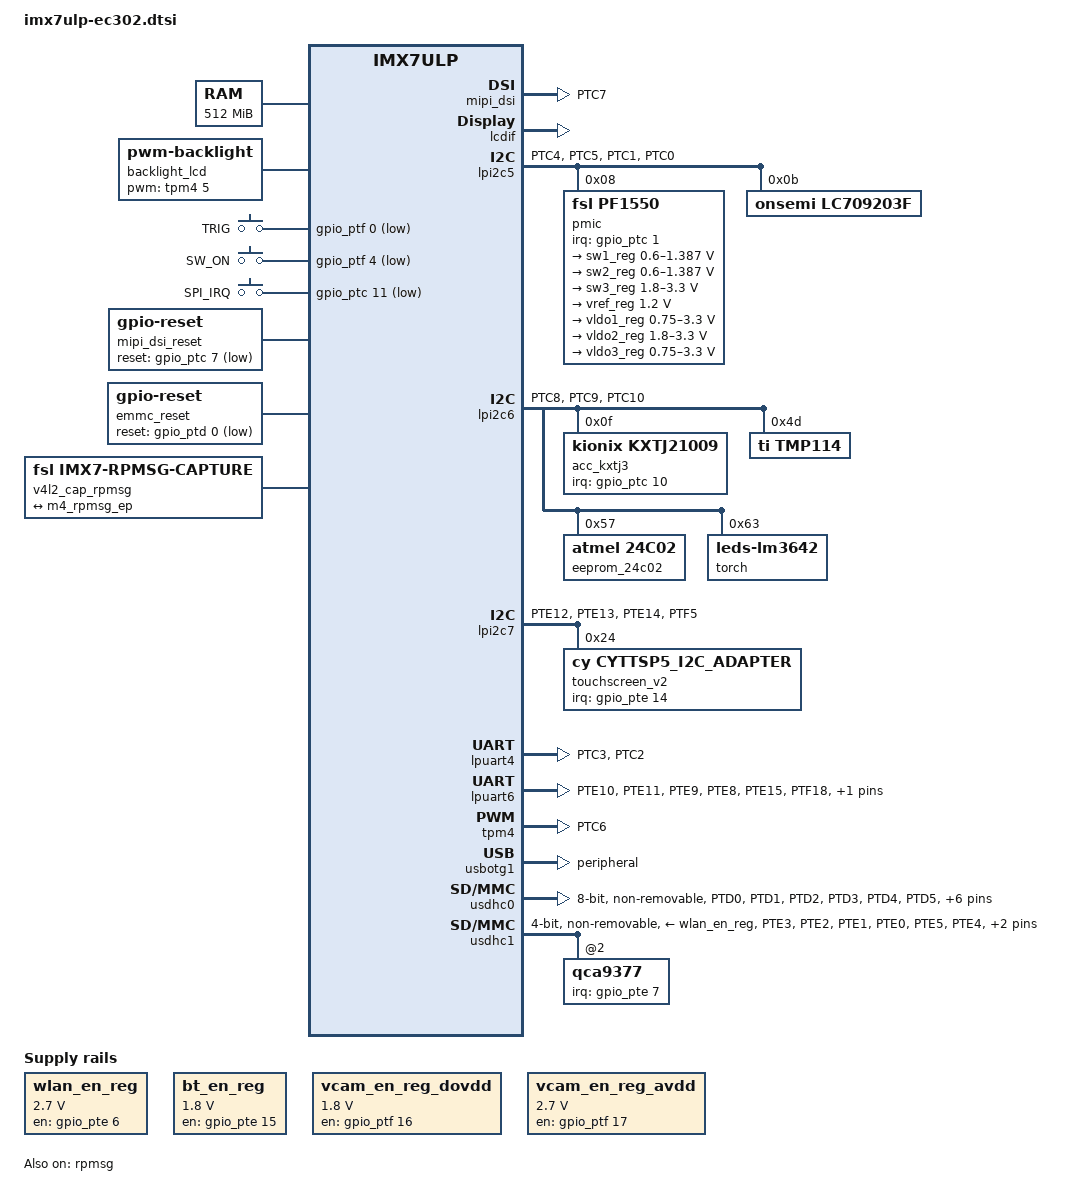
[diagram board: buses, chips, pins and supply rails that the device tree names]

// /*
//  * Copyright 2019 FLIR
//  *
//  * This program is free software; you can redistribute it and/or modify
//  * it under the terms of the GNU General Public License version 2 as
//  * published by the Free Software Foundation.
//  */

#include <dt-bindings/leds/common.h>

/ {

	aliases {
		lcdif = &lcdif;
	};

	chosen {
		stdout-path = &lpuart4;
	};

	memory@60000000 {
		device_type = "memory";
		reg = <0x60000000 0x20000000>;
	};

	reserved-memory {
		rpmsg_reserved: rpmsg@9FFF0000 {
			no-map;
			reg = <0x7FF80000 0x80000>;
		};
	};

	backlight_lcd {
		compatible = "pwm-backlight";
		pwms = <&tpm4 5 1000000 0>;
		brightness-levels = <0 10 20 30 40 50 60 70 80 90 100>;
		default-brightness-level = <7>;
		status = "okay";
	};

	regulators {
		compatible = "simple-bus";
		#address-cells = <1>;
		#size-cells = <0>;

		wlan_en_reg: wlan_en_reg {
			compatible = "regulator-fixed";
			regulator-name = "wl";
			regulator-min-microvolt = <2700000>;
			regulator-max-microvolt = <2700000>;
			gpio = <&gpio_pte 6 GPIO_ACTIVE_HIGH>;
			startup-delay-us = <70000>;
			enable-active-high;
		};

		bt_en_reg: bt_en_reg {
			compatible = "regulator-fixed";
			regulator-name = "bt_en";
			regulator-min-microvolt = <1800000>;
			regulator-max-microvolt = <1800000>;
			gpio = <&gpio_pte 15 GPIO_ACTIVE_HIGH>;
			startup-delay-us = <70000>;
			enable-active-high;
			regulator-boot-on;
			regulator-always-on;
		};

		vcam_en_reg_dovdd: vcam_en_reg_dovdd {
			compatible = "regulator-fixed";
			regulator-name = "vcam_en_reg_dovdd";
			regulator-min-microvolt = <1800000>;
			regulator-max-microvolt = <1800000>;
			gpio = <&gpio_ptf 16 GPIO_ACTIVE_HIGH>;
			startup-delay-us = <0>;
			enable-active-high;
		};

		vcam_en_reg_avdd: vcam_en_reg_avdd {
			compatible = "regulator-fixed";
			regulator-name = "vcam_en_reg_avdd";
			regulator-min-microvolt = <2700000>;
			regulator-max-microvolt = <2700000>;
			gpio = <&gpio_ptf 17 GPIO_ACTIVE_HIGH>;
			startup-delay-us = <0>;
			enable-active-high;
		};

	};

	gpio_keys {
		compatible = "gpio-keys";
		pinctrl-names = "default";
		pinctrl-0 = <&pinctrl_gpiokeys>;
		#address-cells = <1>;
		#size-cells = <0>;

		TRIG {
			label = "TRIG";
			linux,input-type = <1>; /* EV_KEY */
			linux,code = <KEY_F6>;
			gpios = <&gpio_ptf 0 GPIO_ACTIVE_LOW>;
			debounce-interval = <5>;
		};

		SW_ON {
			label = "SW_ON";
			linux,input-type = <1>; /* EV_KEY */
			linux,code = <KEY_F8>;
			gpios = <&gpio_ptf 4 GPIO_ACTIVE_LOW>;
			debounce-interval = <5>;
		};

		SPI_IRQ {
			label = "SPI_IRQ";
			linux,input-type = <1>; /* EV_KEY */
			linux,code = <KEY_F7>;
			gpios = <&gpio_ptc 11 GPIO_ACTIVE_LOW>;
			debounce-interval = <5>;
		};
	};

	mipi_dsi_reset: mipi-dsi-reset {
		compatible = "gpio-reset";
		reset-gpios = <&gpio_ptc 7 GPIO_ACTIVE_LOW>;
		reset-delay-us = <5000>;
		#reset-cells = <0>;
	};

	emmc_reset: emmc_reset {
		compatible = "gpio-reset";
		reset-gpios = <&gpio_ptd 0 GPIO_ACTIVE_LOW>;
		reset-delay-us = <1000>;
		#reset-cells = <0>;
	};

	v4l2_cap_rpmsg {
		compatible = "fsl,imx7-rpmsg-capture";
		status = "okay";
		port {
			v4l2_cap_rpmsg_ep: endpoint {
				remote-endpoint = <&m4_rpmsg_ep>;
			};
		};
	};

	m4_rpmsg: m4_rpmsg {
		port {
			m4_rpmsg_ep: endpoint {
				remote-endpoint = <&v4l2_cap_rpmsg_ep>;
			};
		};
	};

	// Change memory access priorites (QoS) for AXI switches
	// Refer to chapter 13.2.1 (NIC-301 block diagram) and
	// chapter 13.4.2.3 (ASIB default values) of iMX7ULP reference manual

	nic0: nic0@41c00000 {
		compatible = "arm,nic-301";
		reg = <0x41c00000 0x100000>;
		m3_prio = <4>;		// Reduce 3D GPU prio from 5 to 4
		m4_prio = <4>;		// Reduce 2D GPU prio from 5 to 4
	};

	nic1: nic1@41d00000 {
		compatible = "arm,nic-301";
		reg = <0x41d00000 0x100000>;
		m2_prio = <5>;		// Raise Cortex-M4 prio from 1 to 5
		m5_prio = <5>;		// Raise VIU prio from 4 to 5
	};

	snvs: snvs@41070000 {
		compatible = "fsl,sec-v4.0-mon", "syscon", "simple-mfd";
		reg = <0x41070000 0x10000>;
		snvs_rtc: snvs-rtc-lp {
			compatible = "fsl,sec-v4.0-mon-rtc-lp";
			regmap = <&snvs>;
			offset = <0x34>;
			interrupts = <GIC_SPI 88 IRQ_TYPE_LEVEL_HIGH>;
		};
	};

	rtc_rpmsg: rtc-rpmsg {
		compatible = "fsl,imx-rpmsg-rtc";
	};
};

&cpu0 {
	arm-supply= <&sw1_reg>;
};

/* LCD */
&mipi_dsi {
	pinctrl-names = "default";
	pinctrl-0 = <&pinctrl_mipi_dsi_reset>;
	lcd_panel = "TRULY-VGA-SHERLOCK";
	status = "okay";
	resets = <&mipi_dsi_reset>;
};

&lcdif {
	status = "okay";
	disp-dev = "mipi_dsi_northwest";
	display = <&display0>;
	bootlogo = <0x0 0x0>;

	display0: display@0 {
		bits-per-pixel = <32>;
		bus-width = <24>;
	};
};

&iomuxc1 {
	pinctrl-names = "default";

	pinctrl_pwm0: pwm0grp {
		fsl,pins = <
			IMX7ULP_PAD_PTC6__TPM4_CH5  0x0
			>;
	};

	pinctrl_gpiokeys: gpiokeysgrp {
		fsl,pins = <
			IMX7ULP_PAD_PTC12__PTC12  0x10003
			IMX7ULP_PAD_PTC13__PTC13  0x10003
			>;
		};

	pinctrl_lpi2c5: lpi2c5grp {
		fsl,pins = <
			IMX7ULP_PAD_PTC4__LPI2C5_SCL    0x27
			IMX7ULP_PAD_PTC5__LPI2C5_SDA    0x27
			IMX7ULP_PAD_PTC1__PTC1          0x3  /* PMIC_INT */
			IMX7ULP_PAD_PTC0__PTC0          0x27 /* PMIC_WD */
			>;
	};

	pinctrl_lpi2c5_sleep: lpi2c5grp_sleep {
		fsl,pins = <
			IMX7ULP_PAD_PTC4__PTC4          0x0
			IMX7ULP_PAD_PTC5__PTC5          0x0
			IMX7ULP_PAD_PTC1__PTC1          0x3  /* PMIC_INT */
			IMX7ULP_PAD_PTC0__PTC0          0x27 /* PMIC_WD */
			>;
	};

	pinctrl_lpi2c6: lpi2c6grp {
		fsl,pins = <
			IMX7ULP_PAD_PTC8__LPI2C6_SCL    0x27
			IMX7ULP_PAD_PTC9__LPI2C6_SDA    0x27
			IMX7ULP_PAD_PTC10__PTC10        0x2 /* ACC_INT_n */
			>;
	};

	pinctrl_lpi2c6_sleep: lpi2c6grp_sleep {
		fsl,pins = <
			IMX7ULP_PAD_PTC8__PTC8          0x0
			IMX7ULP_PAD_PTC9__PTC9          0x0
			IMX7ULP_PAD_PTC10__PTC10        0x0 /* ACC_INT_n */
			>;
	};

	pinctrl_lpi2c7: lpi2c7grp {
		fsl,pins = <
			IMX7ULP_PAD_PTE12__LPI2C7_SCL   0x27
			IMX7ULP_PAD_PTE13__LPI2C7_SDA   0x27
			IMX7ULP_PAD_PTE14__PTE14        0x3 /* PCAPINT_n */
			IMX7ULP_PAD_PTF5__PTF5          0x20043 /* TP_RESET_n */
			>;
	};

	pinctrl_lpi2c7_sleep: lpi2c7grp_sleep {
		fsl,pins = <
			IMX7ULP_PAD_PTE12__PTE12        0x0
			IMX7ULP_PAD_PTE13__PTE13        0x0
			IMX7ULP_PAD_PTE14__PTE14        0x0 /* PCAPINT_n */
			IMX7ULP_PAD_PTF5__PTF5          0x3 /* TP_RESET_n */
			>;
	};

	pinctrl_lpuart4: lpuart4grp {
		fsl,pins = <
			IMX7ULP_PAD_PTC3__LPUART4_RX    0x3
			IMX7ULP_PAD_PTC2__LPUART4_TX    0x3
			>;
		bias-pull-up;
	};

	pinctrl_lpuart4_sleep: lpuart4grp_sleep {
		fsl,pins = <
			IMX7ULP_PAD_PTC3__PTC3    0x0
			IMX7ULP_PAD_PTC2__PTC2    0x0
			>;
	};

	pinctrl_lpuart6: lpuart6grp {
		fsl,pins = <
			IMX7ULP_PAD_PTE10__LPUART6_TX   0x3
			IMX7ULP_PAD_PTE11__LPUART6_RX   0x3
			IMX7ULP_PAD_PTE9__LPUART6_RTS_B 0x3
			IMX7ULP_PAD_PTE8__LPUART6_CTS_B 0x3
			IMX7ULP_PAD_PTE15__PTE15	0x3     /* BT_EN */
			IMX7ULP_PAD_PTF18__PTF18	0x3     /* BT_WAKE_HOST */
			IMX7ULP_PAD_PTF19__PTF19	0x3     /* HOST_WAKE_BT */
			>;
	};

	pinctrl_lpuart6_sleep: lpuart6grp_sleep {
		fsl,pins = <
			IMX7ULP_PAD_PTE10__PTE10        0x0
			IMX7ULP_PAD_PTE11__PTE11        0x0
			IMX7ULP_PAD_PTE9__PTE9          0x0
			IMX7ULP_PAD_PTE8__PTE8          0x0
			IMX7ULP_PAD_PTE15__PTE15	0x0     /* BT_EN */
			IMX7ULP_PAD_PTF18__PTF18	0x0     /* BT_WAKE_HOST */
			IMX7ULP_PAD_PTF19__PTF19	0x0     /* HOST_WAKE_BT */
			>;
	};

	pinctrl_usdhc0: usdhc0grp {
		fsl,pins = <
			IMX7ULP_PAD_PTD0__PTD0      0x20000     /* USDHC0 RST */
			IMX7ULP_PAD_PTD1__SDHC0_CMD 0x43
			IMX7ULP_PAD_PTD2__SDHC0_CLK 0x10042
			IMX7ULP_PAD_PTD3__SDHC0_D7  0x43
			IMX7ULP_PAD_PTD4__SDHC0_D6  0x43
			IMX7ULP_PAD_PTD5__SDHC0_D5  0x43
			IMX7ULP_PAD_PTD6__SDHC0_D4  0x43
			IMX7ULP_PAD_PTD7__SDHC0_D3  0x43
			IMX7ULP_PAD_PTD8__SDHC0_D2  0x43
			IMX7ULP_PAD_PTD9__SDHC0_D1  0x43
			IMX7ULP_PAD_PTD10__SDHC0_D0 0x43
			IMX7ULP_PAD_PTD11__SDHC0_DQS    0x42
			>;
	};

	pinctrl_usdhc1: usdhc1grp {
		fsl,pins = <
			IMX7ULP_PAD_PTE3__SDHC1_CMD     0x43
			IMX7ULP_PAD_PTE2__SDHC1_CLK     0x10042
			IMX7ULP_PAD_PTE1__SDHC1_D0      0x43
			IMX7ULP_PAD_PTE0__SDHC1_D1      0x43
			IMX7ULP_PAD_PTE5__SDHC1_D2      0x43
			IMX7ULP_PAD_PTE4__SDHC1_D3      0x43
			IMX7ULP_PAD_PTE6__PTE6		0x3     /* WLAN_EN */
			IMX7ULP_PAD_PTE7__PTE7		0x2     /* WLAN_IRQ */
			>;
	};

	pinctrl_usdhc1_sleep: usdhc1grp_sleep {
		fsl,pins = <
			IMX7ULP_PAD_PTE3__PTE3          0x0
			IMX7ULP_PAD_PTE2__PTE2          0x0
			IMX7ULP_PAD_PTE1__PTE1          0x0
			IMX7ULP_PAD_PTE0__PTE0          0x0
			IMX7ULP_PAD_PTE5__PTE5          0x0
			IMX7ULP_PAD_PTE4__PTE4          0x0
			IMX7ULP_PAD_PTE6__PTE6		0x0     /* WLAN_EN */
			IMX7ULP_PAD_PTE7__PTE7		0x0     /* WLAN_IRQ */
			>;
	};

	pinctrl_mipi_dsi_reset: mipi_dsi_reset_grp {
		fsl,pins = <
			IMX7ULP_PAD_PTC7__PTC7    0x3 /* DISPLAY_RESET */
			>;
	};

	pinctrl_camera: camera_grp {
		fsl,pins = <
			IMX7ULP_PAD_PTF3__VIU_PCLK  0x10043
			IMX7ULP_PAD_PTF6__VIU_D2    0x43
			IMX7ULP_PAD_PTF7__VIU_D3    0x43
			IMX7ULP_PAD_PTF8__VIU_D4    0x43
			IMX7ULP_PAD_PTF9__VIU_D5    0x43
			IMX7ULP_PAD_PTF10__VIU_D6   0x43
			IMX7ULP_PAD_PTF11__VIU_D7   0x43
			IMX7ULP_PAD_PTF12__VIU_D8   0x43
			IMX7ULP_PAD_PTF13__VIU_D9   0x43
			IMX7ULP_PAD_PTF14__PTF14    0x20043  /* CAMERA RESET */
			IMX7ULP_PAD_PTF15__PTF15    0x20043  /* CAMERA PWDN */
			IMX7ULP_PAD_PTF16__PTF16    0x20043  /* CAMERA 1V8 ENABLE*/
			IMX7ULP_PAD_PTF17__PTF17    0x20043  /* CAMERA 2V8 ENABLE */
			>;
	};

	pinctrl_camera_sleep: camera_grp_sleep {
		fsl,pins = <
			IMX7ULP_PAD_PTF3__PTF3      0x0
			IMX7ULP_PAD_PTF6__PTF6      0x0
			IMX7ULP_PAD_PTF7__PTF7      0x0
			IMX7ULP_PAD_PTF8__PTF8      0x0
			IMX7ULP_PAD_PTF9__PTF9      0x0
			IMX7ULP_PAD_PTF10__PTF10    0x0
			IMX7ULP_PAD_PTF11__PTF11    0x0
			IMX7ULP_PAD_PTF12__PTF12    0x0
			IMX7ULP_PAD_PTF13__PTF13    0x0
			IMX7ULP_PAD_PTF14__PTF14    0x20043  /* CAMERA RESET */
			IMX7ULP_PAD_PTF15__PTF15    0x20043  /* CAMERA PWDN */
			IMX7ULP_PAD_PTF16__PTF16    0x20043  /* CAMERA 1V8 ENABLE*/
			IMX7ULP_PAD_PTF17__PTF17    0x20043  /* CAMERA 2V8 ENABLE */
			>;
	};
};

/*  PMIC */
&lpi2c5 {
	#address-cells = <1>;
	#size-cells = <0>;
	pinctrl-names = "default", "sleep";
	pinctrl-0 = <&pinctrl_lpi2c5>;
	pinctrl-1 = <&pinctrl_lpi2c5_sleep>;
	status = "okay";

	pmic: pf1550@08 {
		compatible = "fsl,pf1550";
		interrupt-parent = <&gpio_ptc>;
		interrupts = <1 IRQ_TYPE_EDGE_FALLING>;
		reg = <0x08>;

		onkey {
			compatible = "fsl,pf1550-onkey";
			linux,keycode = <KEY_F8>;
		};

		charger {
			compatible = "fsl,pf1550-charger";
			fsl,min-system-microvolt = <4300000>;
		};

		regulators {
			compatible = "fsl,pf1550-regulator";

			sw1_reg: SW1 {
				regulator-name = "SW1";
				regulator-min-microvolt = <600000>;
				regulator-max-microvolt = <1387500>;
				regulator-boot-on;
				regulator-always-on;
				regulator-ramp-delay = <6250>;
			};

			sw2_reg: SW2 {
				regulator-name = "SW2";
				regulator-min-microvolt = <600000>;
				regulator-max-microvolt = <1387500>;
				regulator-boot-on;
				regulator-always-on;
			};

			sw3_reg: SW3 {
				regulator-name = "SW3";
				regulator-min-microvolt = <1800000>;
				regulator-max-microvolt = <3300000>;
				regulator-boot-on;
				regulator-always-on;
			};

			vref_reg: VREFDDR {
				regulator-name = "VREFDDR";
				regulator-min-microvolt = <1200000>;
				regulator-max-microvolt = <1200000>;
				regulator-boot-on;
				regulator-always-on;
			};

			vldo1_reg: LDO1 {
				regulator-name = "LDO1";
				regulator-min-microvolt = <750000>;
				regulator-max-microvolt = <3300000>;
				regulator-always-on;
			};

			vldo2_reg: LDO2 {
				regulator-name = "LDO2";
				regulator-min-microvolt = <1800000>;
				regulator-max-microvolt = <3300000>;
				regulator-always-on;
			};

			vldo3_reg: LDO3 {
				regulator-name = "LDO3";
				regulator-min-microvolt = <750000>;
				regulator-max-microvolt = <3300000>;
				regulator-always-on;
			};
		};
	};

	/*Fuel gauge */
	lc709203f: lc709203f@0b {
		compatible = "onsemi,lc709203f";
		reg = <0x0b>;
		thermistor-beta = <0x0d34>;
		kernel-threshold-soc = <0>;
		kernel-maximum-soc = <100>;
		alert-low-rsoc = <0x0>;
		alert-low-voltage = <0x0>;
	};
};

/*  IO expander for VCAM, Lepton, Accelerometer, Temp sensor 1 and 2, EEPROM */
&lpi2c6 {
	#address-cells = <1>;
	#size-cells = <0>;
	pinctrl-names = "default", "sleep";
	pinctrl-0 = <&pinctrl_lpi2c6>;
	pinctrl-1 = <&pinctrl_lpi2c6_sleep>;
	status = "okay";

//	ov5640: ov5640@3c {
//		compatible = "ovti,ov5640";
//		reg = <0x3c>;
//		clocks = <&clks IMX7ULP_CLK_DUMMY>;
//		clock-names = "csi_mclk";
//		DOVDD-supply = <&vcam_en_reg_dovdd>; /* 1.8v */
//		AVDD-supply = <&vcam_en_reg_avdd>;  /* 2.8v */
//		pwn-gpios = <&gpio_ptf 15 GPIO_ACTIVE_HIGH>;
//		rst-gpios = <&gpio_ptf 14 GPIO_ACTIVE_HIGH>;
//		clk-gpios = <&gpio_ptc 0 GPIO_ACTIVE_HIGH>;
//		csi_id = <0>;
//		mclk = <24000000>;
//		mclk_source = <0>;
//		status = "okay";
//		port {
//			ov5640_ep: endpoint {
//				remote-endpoint = <&viu_ep>;
//			};
//		};
//	};

	acc_kxtj3: acc_kxtj3@0F {
		compatible = "kionix,kxtj21009";
		reg = <0x0F>;
		interrupt-parent = <&gpio_ptc>;
		interrupts = <10 IRQ_TYPE_LEVEL_HIGH>;
	};

	tmp114: tmp114@4d {
		compatible = "ti,tmp114";
		reg = <0x4d>;
	};

	eeprom_24c02: eeprom_24c02@57 {
		compatible = "atmel,24c02";
		reg = <0x57>;
		pagesize = <16>;
	};

	torch: torch@63 {
		compatible = "leds-lm3642";
		reg = <0x63>;
		flash-ramp = <3>;       /* 011b = 2 ms */
		flash-time-out = <7>;   /* 111b = 800 ms */
		torch-max-current = <3>;/* 011b = 375 mA */
		flash-max-current = <7>;/* 0111b = 750 mA */
		ivfm = <3>;		/* 011b = 3.2 V */
		torch-ramp = <5>;	/* 101b = 512 ms */
	};
};

/* Touchscreen */
&lpi2c7 {
	#address-cells = <1>;
	#size-cells = <0>;
	pinctrl-names = "default",  "sleep";
	pinctrl-0 = <&pinctrl_lpi2c7>;
	pinctrl-1 = <&pinctrl_lpi2c7_sleep>;
	status = "okay";

	touchscreen_v2:tsc@24{
		compatible = "cy,cyttsp5_i2c_adapter";
		reg = <0x24>;

		interrupts = <14 IRQ_TYPE_EDGE_FALLING>;
		interrupt-parent = <&gpio_pte>;
		cy,adapter_id = "cyttsp5_i2c_adapter";

		cy,core {
			cy,name = "cyttsp5_core";
			cy,irq_gpio = <78>;//<&gpio_pte 14 GPIO_ACTIVE_HIGH>;
			cy,rst_gpio = <101>;//<&gpio_ptf 5 GPIO_ACTIVE_LOW>;
			cy,hid_desc_register = <1>;

			/*CY_CORE_FLAG_RESTORE_PARAMETERS */
			cy,flags = <4>;
			/* CY_CORE_EWG_NONE */
			cy,easy_wakeup_gesture = <0>;

			cy,mt {
				cy,name = "cyttsp5_mt";
				cy,inp_dev_name = "cyttsp5_mt";
				/* CY_MT_FLAG_FLIP | CY_MT_FLAG_INV_X | CY_MT_FLAG_INV_Y */
				cy,flags = <0x00>;
				cy,abs =
					/* ABS_MT_POSITION_X, CY_ABS_MIN_X, CY_ABS_MAX_X, 0, 0 */
					<0x35 0 480 0 0
					/* ABS_MT_POSITION_Y, CY_ABS_MIN_Y, CY_ABS_MAX_Y, 0, 0 */
					0x36 0 640 0 0
					/* ABS_MT_PRESSURE, CY_ABS_MIN_P, CY_ABS_MAX_P, 0, 0 */
					0x3a 0 255 0 0
					/* CY_IGNORE_VALUE, CY_ABS_MIN_W, CY_ABS_MAX_W, 0, 0 */
					0xffff 0 255 0 0
					/* ABS_MT_TRACKING_ID, CY_ABS_MIN_T, CY_ABS_MAX_T, 0, 0 */
					0x39 0 15 0 0
					/* ABS_MT_TOUCH_MAJOR, 0, 255, 0, 0 */
					0x30 0 255 0 0
					/* ABS_MT_TOUCH_MINOR, 0, 255, 0, 0 */
					0x31 0 255 0 0
					/* ABS_MT_ORIENTATION, -127, 127, 0, 0 */
					0x34 0xffffff81 127 0 0
					/* ABS_MT_TOOL_TYPE, 0, MT_TOOL_MAX, 0, 0 */
					0x37 0 1 0 0
					/* ABS_MT_DISTANCE, 0, 255, 0, 0 */
					0x3b 0 255 0 0>;
			};

			cy,btn {
				cy,name = "cyttsp5_btn";
				cy,inp_dev_name = "cyttsp5_btn";
			};
			cy,proximity {
				cy,name = "cyttsp5_proximity";

				cy,inp_dev_name = "cyttsp5_proximity";
				cy,abs =
					/* ABS_DISTANCE, CY_PROXIMITY_MIN_VAL, CY_PROXIMITY_MAX_VAL, 0, 0 */
					<0x19 0 1 0 0>;
			};
		};
	};
};

&lpuart4 { /* console */
	pinctrl-names = "default";
	pinctrl-0 = <&pinctrl_lpuart4>;
	status = "okay";
};

&lpuart6 { /* BT */
	pinctrl-names = "default", "sleep";
	pinctrl-0 = <&pinctrl_lpuart6>;
	pinctrl-1 = <&pinctrl_lpuart6_sleep>;
	/* Default 48 MHz FIRC clk does not run at 48 MHz, use 24 MHz SOSC */
	assigned-clock-parents = <&scg1 IMX7ULP_CLK_SOSC_BUS_CLK>;
	assigned-clock-rates = <24000000>;
	status = "okay";
};

&ahbbridge0 {
	rpmsg: rpmsg{
		compatible = "fsl,imx7ulp-rpmsg";
		memory-region = <&rpmsg_reserved>;
		status = "disabled";
	};
};

&rpmsg{
	/*
	 * 64K for one rpmsg instance, default using 2 rpmsg instances:
	 * --0x7FF80000~0x7FF8FFFF: pmic,pm,audio,keys,gpio,sensor
	 * --0x7FF90000~0x7FF9FFFF: pingpong,virtual tty
	 */
	vdev-nums = <2>;
	reg = <0x7FF80000 0x20000>;
	status = "okay";
};

&rtc_rpmsg{
	status = "disabled";
};

&tpm4 {
	pinctrl-names = "default", "sleep";
	pinctrl-0 = <&pinctrl_pwm0>;
	pinctrl-1 = <&pinctrl_pwm0>;
	status = "okay";
};

&usbotg1 {
	dr_mode = "peripheral";
	srp-disable;
	hnp-disable;
	adp-disable;
	phy-charger-detection;
	status = "okay";
};

/* emmc */
&usdhc0 {
	pinctrl-names = "default", "sleep";
	pinctrl-0 = <&pinctrl_usdhc0>;
	pinctrl-1 = <&pinctrl_usdhc0>;
	resets = <&emmc_reset>;
	bus-width = <8>;
	non-removable;
	status = "okay";
};

/* wifi */
&usdhc1 {
	pinctrl-names = "default", "sleep";
	pinctrl-0 = <&pinctrl_usdhc1>;
	pinctrl-1 = <&pinctrl_usdhc1_sleep>;
	bus-width = <4>;
	pm-ignore-notify;
	keep-power-in-suspend;
	non-removable;
	wifi-host;
	status = "okay";

	vmmc-supply = <&wlan_en_reg>;
	#address-cells = <1>;
	#size-cells = <0>;
	max-frequency = <12500000>;

	qca9377: qca9377@2 {
		reg = <2>;
		interrupt-parent = <&gpio_pte>;
		interrupts = <7 IRQ_TYPE_LEVEL_HIGH>;
	};
};
//
//&viu {
//	pinctrl-names = "default", "sleep";
//	pinctrl-0 = <&pinctrl_camera>;
//	pinctrl-1 = <&pinctrl_camera_sleep>;
//	status = "okay";
//	port {
//	viu_ep: endpoint {
//			remote-endpoint = <&ov5640_ep>;
//		};
//	};
//};
